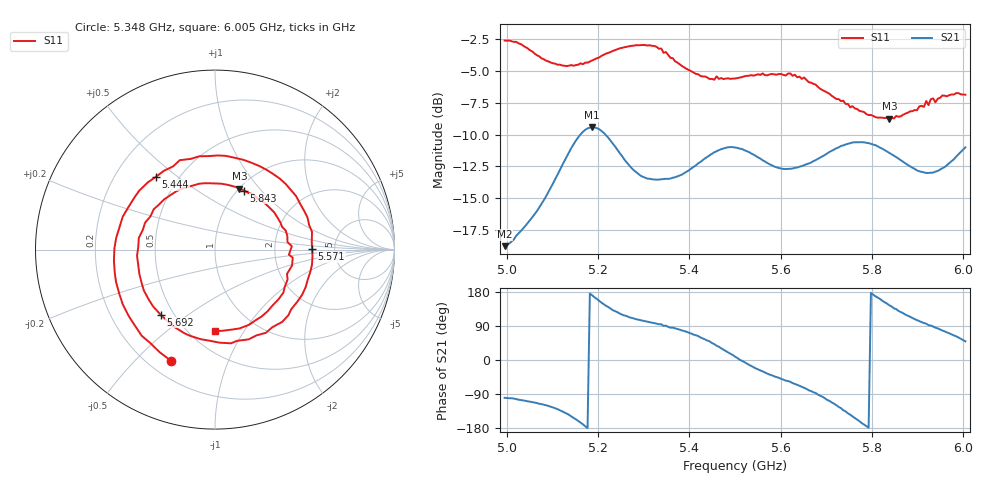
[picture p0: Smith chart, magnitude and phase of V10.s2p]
!File created by NanoVNA
# Hz S RI R 50
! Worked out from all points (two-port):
!   201 points, 4.995 GHz to 6.005 GHz, reference 50 ohm
!   highest |S21| = -9.43 dB at 5.187 GHz (marker M1); lowest = -18.8 dB at 4.995 GHz (marker M2)
!   |S21| within 3 dB of the highest: 5.414 GHz to 5.582 GHz (167.8 MHz wide, 3.05 % of centre); 5.65 GHz to 5.881 GHz (231 MHz wide, 4.01 % of centre)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
!   lowest |S11| = -8.7 dB at 5.838 GHz (marker M3), VSWR 2.15, Z = 50.3 + j39.4 ohm
!   |S11| at or under -10 dB: nowhere
!   S12 and S22 are empty: the file has one direction only
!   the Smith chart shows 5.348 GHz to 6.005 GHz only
!   S11 on the Smith chart (normalised r, x): 5.348 GHz: 0.29, -0.64; 5.444 GHz: 0.38, +0.42; 5.571 GHz: 3.35, +0.04; 5.692 GHz: 0.42, -0.40; 5.843 GHz: 1.07, +0.81; 6.005 GHz: 0.66, -0.75
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4.995e9  0.1983 -0.7135  -0.0197 -0.1136  0 0  0 0
5.03035e9  -0.3066 -0.6476  -0.0357 -0.1271  0 0  0 0
5.0758e9  -0.6237 -0.0891  -0.0749 -0.1512  0 0  0 0
5.1263e9  -0.3541 0.4711  -0.1861 -0.1662  0 0  0 0
5.1667e9  0.0764 0.5924  -0.319 -0.0575  0 0  0 0
5.1869e9  0.2956 0.5436  -0.3332 0.0547  0 0  0 0
5.26265e9  0.6765 -0.1761  -0.1075 0.2211  0 0  0 0
5.33335e9  -0.0357 -0.6859  -0.0161 0.2099  0 0  0 0
5.3485e9  -0.2442 -0.6205  -0.00276 0.212  0 0  0 0
5.399e9  -0.5632 -0.0624  0.0709 0.2177  0 0  0 0
5.44445e9  -0.3291 0.4058  0.1714 0.1985  0 0  0 0
5.5e9  0.2009 0.4848  0.2779 0.0437  0 0  0 0
5.5707e9  0.5405 0.0046  0.1981 -0.1435  0 0  0 0
5.6313e9  0.2834 -0.4634  0.1048 -0.2091  0 0  0 0
5.6717e9  -0.1361 -0.4814  0.0214 -0.2477  0 0  0 0
5.6919e9  -0.3035 -0.3626  -0.0325 -0.2577  0 0  0 0
5.72725e9  -0.4344 -0.0327  -0.1566 -0.2338  0 0  0 0
5.76765e9  -0.2834 0.28  -0.2715 -0.1148  0 0  0 0
5.83835e9  0.136 0.3394  -0.2175 0.1562  0 0  0 0
5.8434e9  0.1629 0.3291  -0.2061 0.1659  0 0  0 0
5.9343e9  0.4293 -0.0888  0.00656 0.2241  0 0  0 0
6.005e9  -0.0025 -0.4534  0.1838 0.2135  0 0  0 0
